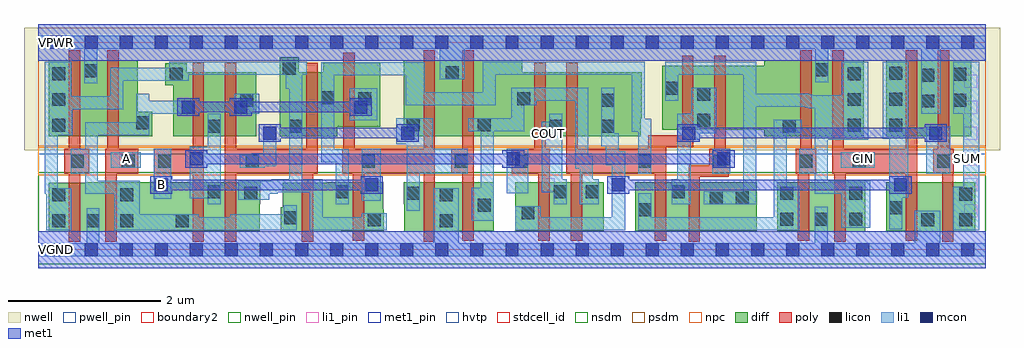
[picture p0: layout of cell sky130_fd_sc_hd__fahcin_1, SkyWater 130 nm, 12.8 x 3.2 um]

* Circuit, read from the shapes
.subckt sky130_fd_sc_hd__fahcin_1 A B CIN COUT SUM VGND VNB VPB VPWR
XM1 VGND n1 n2 VNB sky130_fd_pr__nfet_01v8 w=0.64 l=0.15
XM2 n1 A VGND VNB sky130_fd_pr__nfet_01v8 w=0.65 l=0.15
XM3 n3 B n1 VNB sky130_fd_pr__nfet_01v8 w=0.64 l=0.15
XM4 n2 n4 n3 VNB sky130_fd_pr__nfet_01v8 w=0.64 l=0.15
XM5 n5 n4 n1 VNB sky130_fd_pr__nfet_01v8 w=0.64 l=0.15
XM6 n2 B n5 VNB sky130_fd_pr__nfet_01v8 w=0.64 l=0.15
XM7 VGND B n4 VNB sky130_fd_pr__nfet_01v8 w=0.65 l=0.15
XM8 n6 n4 VGND VNB sky130_fd_pr__nfet_01v8 w=0.64 l=0.15
XM9 COUT n3 n7 VNB sky130_fd_pr__nfet_01v8 w=0.64 l=0.15
XM10 n6 n5 COUT VNB sky130_fd_pr__nfet_01v8 w=0.64 l=0.15
XM11 n8 n5 n9 VNB sky130_fd_pr__nfet_01v8 w=0.64 l=0.15
XM12 n10 n3 n8 VNB sky130_fd_pr__nfet_01v8 w=0.64 l=0.15
XM13 VGND n10 n9 VNB sky130_fd_pr__nfet_01v8 w=0.64 l=0.15
XM14 n10 CIN VGND VNB sky130_fd_pr__nfet_01v8 w=0.65 l=0.15
XM15 VGND CIN n7 VNB sky130_fd_pr__nfet_01v8 w=0.64 l=0.15
XM16 SUM n8 VGND VNB sky130_fd_pr__nfet_01v8 w=0.65 l=0.15
XM17 VPWR n1 n2 VPB sky130_fd_pr__pfet_01v8_hvt w=1 l=0.15
XM18 n1 A VPWR VPB sky130_fd_pr__pfet_01v8_hvt w=1 l=0.15
XM19 n3 B n2 VPB sky130_fd_pr__pfet_01v8_hvt w=0.84 l=0.15
XM20 n1 n4 n3 VPB sky130_fd_pr__pfet_01v8_hvt w=0.84 l=0.15
XM21 n5 n4 n2 VPB sky130_fd_pr__pfet_01v8_hvt w=0.84 l=0.15
XM22 n1 B n5 VPB sky130_fd_pr__pfet_01v8_hvt w=0.84 l=0.15
XM23 VPWR B n4 VPB sky130_fd_pr__pfet_01v8_hvt w=1 l=0.15
XM24 n6 n4 VPWR VPB sky130_fd_pr__pfet_01v8_hvt w=1 l=0.15
XM25 COUT n3 n6 VPB sky130_fd_pr__pfet_01v8_hvt w=0.84 l=0.15
XM26 n7 n5 COUT VPB sky130_fd_pr__pfet_01v8_hvt w=0.84 l=0.15
XM27 n8 n5 n10 VPB sky130_fd_pr__pfet_01v8_hvt w=0.84 l=0.15
XM28 n9 n3 n8 VPB sky130_fd_pr__pfet_01v8_hvt w=0.84 l=0.15
XM29 VPWR n10 n9 VPB sky130_fd_pr__pfet_01v8_hvt w=1 l=0.15
XM30 n10 CIN VPWR VPB sky130_fd_pr__pfet_01v8_hvt w=1 l=0.15
XM31 VPWR CIN n7 VPB sky130_fd_pr__pfet_01v8_hvt w=1 l=0.15
XM32 SUM n8 VPWR VPB sky130_fd_pr__pfet_01v8_hvt w=1 l=0.15
.ends

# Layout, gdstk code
import gdstk
lib = gdstk.Library(unit=1e-6, precision=1e-09)
def R(c, l, rs):  # rectangles x0, y0, x1, y1
    for r in rs: c.add(gdstk.rectangle(r[:2], r[2:], *l))
def A(c, l, x, y, w, h, nx, ny, dx, dy):  # array of equal rectangles
    R(c, l, [(x+i*dx, y+j*dy, x+i*dx+w, y+j*dy+h) for i in range(nx) for j in range(ny)])
def P(c, l, *ps):  # polygons
    for p in ps: c.add(gdstk.Polygon(p, *l))
nwell_pin = (64, 16)
nwell = (64, 20)
diff = (65, 20)
poly = (66, 20)
licon = (66, 44)
li1_pin = (67, 16)
li1 = (67, 20)
mcon = (67, 44)
met1_pin = (68, 16)
met1 = (68, 20)
hvtp = (78, 44)
stdcell_id = (81, 4)
nsdm = (93, 44)
psdm = (94, 20)
npc = (95, 20)
pwell_pin = (122, 16)
boundary2 = (236, 0)

sky130_fd_sc_hd__fahcin_ = lib.new_cell('sky130_fd_sc_hd__fahcin_1')
R(sky130_fd_sc_hd__fahcin_, nwell_pin, [(0.145,2.635,0.315,2.805)])
R(sky130_fd_sc_hd__fahcin_, nwell, [(-0.19,1.305,12.61,2.91)])
R(sky130_fd_sc_hd__fahcin_, diff, [(6.255,0.245,7.41,0.885), (7.825,0.245,9.42,0.885), (11.115,1.485,12.23,2.485), (3.905,1.61,4.48,2.285)])
P(sky130_fd_sc_hd__fahcin_, diff, [(1.49,1.81),(1.3,1.81),(1.3,2.485),(0.135,2.485),(0.135,1.485),(1.49,1.485)],
  [(2.855,2.325),(1.945,2.325),(1.945,2.445),(1.66,2.445),(1.66,2.155),(1.77,2.155),(1.77,1.485),(2.855,1.485)],
  [(2.91,0.885),(0.625,0.885),(0.625,0.875),(0.135,0.875),(0.135,0.235),(1.59,0.235),(1.59,0.245),(2.905,0.245),(2.905,0.6),(2.91,0.6)],
  [(4.48,2.45),(3.735,2.45),(3.735,2.325),(3.415,2.325),(3.415,2.525),(3.165,2.525),(3.165,1.485),(3.92,1.485),(3.92,2.285),(4.48,2.285)],
  [(4.53,0.525),(4.525,0.525),(4.525,0.53),(4.52,0.53),(4.52,0.885),(3.79,0.885),(3.79,0.875),(3.205,0.875),(3.205,0.56),(3.18,0.56),(3.18,0.235),(3.965,0.235),(3.965,0.245),(4.53,0.245)],
  [(5.97,0.885),(4.79,0.885),(4.79,0.605),(4.795,0.605),(4.795,0.6),(4.8,0.6),(4.8,0.235),(5.45,0.235),(5.45,0.245),(5.97,0.245)],
  [(7.91,2.325),(6.345,2.325),(6.345,2.485),(4.79,2.485),(4.79,1.485),(7.9,1.485),(7.9,1.715),(7.91,1.715)],
  [(10.845,0.885),(9.69,0.885),(9.69,0.245),(10.185,0.245),(10.185,0.235),(10.845,0.235)],
  [(10.825,2.485),(9.52,2.485),(9.52,2.415),(8.18,2.415),(8.18,1.575),(9.52,1.575),(9.52,1.485),(10.825,1.485)],
  [(12.285,0.885),(11.115,0.885),(11.115,0.245),(11.6,0.245),(11.6,0.235),(12.285,0.235)])
P(sky130_fd_sc_hd__fahcin_, poly, [(0.665,1.325),(0.55,1.325),(0.55,2.615),(0.4,2.615),(0.4,1.325),(0.335,1.325),(0.335,0.995),(0.4,0.995),(0.4,0.105),(0.55,0.105),(0.55,0.995),(0.665,0.995)],
  [(1.31,1.325),(1.05,1.325),(1.05,2.615),(0.9,2.615),(0.9,1.325),(0.875,1.325),(0.875,0.105),(1.025,0.105),(1.025,0.995),(1.31,0.995)],
  [(2.17,2.455),(2.02,2.455),(2.02,1.325),(1.52,1.325),(1.52,0.995),(2.02,0.995),(2.02,0.105),(2.17,0.105)],
  [(3.66,2.455),(3.51,2.455),(3.51,1.325),(2.595,1.325),(2.595,2.455),(2.445,2.455),(2.445,0.105),(2.595,0.105),(2.595,0.995),(3.455,0.995),(3.455,0.105),(3.605,0.105),(3.605,0.995),(3.66,0.995)],
  [(5.2,2.615),(5.05,2.615),(5.05,1.325),(4.145,1.325),(4.145,2.58),(3.995,2.58),(3.995,1.325),(3.985,1.325),(3.985,0.995),(4.12,0.995),(4.12,0.115),(4.27,0.115),(4.27,0.995),(5.05,0.995),(5.05,0.105),(5.2,0.105)],
  [(5.71,2.615),(5.56,2.615),(5.56,1.325),(5.41,1.325),(5.41,0.995),(5.56,0.995),(5.56,0.115),(5.71,0.115)],
  [(6.705,1.325),(6.65,1.325),(6.65,2.455),(6.5,2.455),(6.5,1.325),(6.205,1.325),(6.205,0.995),(6.555,0.995),(6.555,0.115),(6.705,0.115)],
  [(8.59,2.545),(8.44,2.545),(8.44,1.5),(7.995,1.5),(7.995,1.325),(7.07,1.325),(7.07,2.455),(6.92,2.455),(6.92,0.995),(6.98,0.995),(6.98,0.115),(7.13,0.115),(7.13,0.995),(8.085,0.995),(8.085,0.115),(8.235,0.115),(8.235,1.35),(8.59,1.35)],
  [(9.07,1.325),(9.01,1.325),(9.01,2.545),(8.86,2.545),(8.86,1.325),(8.8,1.325),(8.8,1.11),(8.525,1.11),(8.525,0.105),(8.675,0.105),(8.675,0.96),(9.055,0.96),(9.055,0.995),(9.07,0.995)],
  [(11.525,2.615),(11.375,2.615),(11.375,1.325),(10.56,1.325),(10.56,2.615),(10.41,2.615),(10.41,0.995),(10.435,0.995),(10.435,0.105),(10.585,0.105),(10.585,0.995),(11.375,0.995),(11.375,0.115),(11.525,0.115)],
  [(12.005,1.325),(11.945,1.325),(11.945,2.615),(11.795,2.615),(11.795,1.325),(11.735,1.325),(11.735,0.995),(11.85,0.995),(11.85,0.105),(12,0.105),(12,0.995),(12.005,0.995)],
  [(10.2,1.325),(10.14,1.325),(10.14,2.615),(9.99,2.615),(9.99,1.325),(9.93,1.325),(9.93,0.995),(9.96,0.995),(9.96,0.115),(10.11,0.115),(10.11,0.995),(10.2,0.995)])
A(sky130_fd_sc_hd__fahcin_, licon, 0.18, 1.545, 0.17, 0.17, 1, 3, 0, 0.34)
A(sky130_fd_sc_hd__fahcin_, licon, 10.615, 1.545, 0.17, 0.17, 1, 3, 0, 0.34)
A(sky130_fd_sc_hd__fahcin_, licon, 11.155, 1.55, 0.17, 0.17, 1, 3, 0, 0.34)
R(sky130_fd_sc_hd__fahcin_, licon, [(0.18,0.295,0.35,0.465), (0.63,0.295,0.8,0.465), (1.075,0.295,1.245,0.465), (1.8,0.295,1.97,0.465), (5.26,0.295,5.43,0.465), (4.32,0.305,4.49,0.475), (11.575,0.305,11.745,0.475), (12.075,0.305,12.245,0.475), (9.73,0.315,9.9,0.485), (10.18,0.315,10.35,0.485), (10.635,0.315,10.805,0.485), (3.22,0.335,3.39,0.505), (6.335,0.4,6.505,0.57), (7.865,0.44,8.035,0.61), (11.155,0.465,11.325,0.635), (5.76,0.495,5.93,0.665), (8.805,0.595,8.975,0.765), (9.145,0.595,9.315,0.765), (0.18,0.635,0.35,0.805), (1.075,0.635,1.245,0.805), (5.26,0.635,5.43,0.805), (12.075,0.645,12.245,0.815), (2.7,0.655,2.87,0.825), (4.83,0.655,5,0.825), (9.73,0.655,9.9,0.825), (10.635,0.655,10.805,0.825), (2.22,0.675,2.39,0.845), (3.9,0.675,4.07,0.845), (6.755,0.675,6.925,0.845), (7.18,0.675,7.35,0.845), (8.305,0.675,8.475,0.845), (0.425,1.075,0.595,1.245), (1.09,1.075,1.26,1.245), (1.57,1.075,1.74,1.245), (2.72,1.075,2.89,1.245), (4.24,1.075,4.41,1.245), (5.46,1.075,5.63,1.245), (6.255,1.075,6.425,1.245), (7.865,1.075,8.035,1.245), (8.85,1.075,9.02,1.245), (9.98,1.075,10.15,1.245), (10.68,1.075,10.85,1.245), (11.785,1.075,11.955,1.245), (2.22,1.535,2.39,1.705), (3.29,1.535,3.46,1.705), (6.7,1.535,6.87,1.705), (7.38,1.535,7.55,1.705), (9.76,1.535,9.93,1.705), (4.83,1.555,5,1.725), (5.76,1.555,5.93,1.725), (1.28,1.58,1.45,1.75), (8.64,1.615,8.81,1.785), (11.575,1.865,11.745,2.035), (2.645,1.875,2.815,2.045), (7.38,1.875,7.55,2.045), (12,1.875,12.17,2.045), (4.195,1.895,4.365,2.065), (6.28,1.895,6.45,2.065), (3.71,1.905,3.88,2.075), (8.64,1.955,8.81,2.125), (8.22,2.035,8.39,2.205), (11.575,2.205,11.745,2.375), (1.72,2.215,1.89,2.385), (12,2.215,12.17,2.385), (5.34,2.235,5.51,2.405), (0.6,2.26,0.77,2.43), (10.19,2.275,10.36,2.445), (3.205,2.295,3.375,2.465)])
A(sky130_fd_sc_hd__fahcin_, li1_pin, 12.14, 0.425, 0.17, 0.17, 1, 6, 0, 0.34)
R(sky130_fd_sc_hd__fahcin_, li1_pin, [(1.525,0.765,1.695,0.935), (6.6,0.765,6.77,0.935), (1.065,1.105,1.235,1.275), (10.74,1.105,10.91,1.275), (6.6,1.445,6.77,1.615)])
R(sky130_fd_sc_hd__fahcin_, li1, [(4.24,0.645,4.49,1.325), (1.51,0.665,1.74,1.325), (6.14,0.74,6.425,1.325), (3.29,0.9,3.46,2.305), (8.835,0.995,9.07,1.325), (11.645,0.995,11.955,1.615), (0.95,1.075,1.34,1.275), (10.52,1.075,10.965,1.275), (2.8,1.245,2.95,1.265), (4.08,1.695,4.445,2.12), (1.405,1.785,2.05,1.955), (1.88,1.785,2.05,1.955), (2.565,1.785,2.895,2.045), (2.57,1.785,2.74,1.955), (2.57,1.785,2.74,1.955), (4.815,2.065,5.065,2.46), (3.245,2.11,3.415,2.295)])
P(sky130_fd_sc_hd__fahcin_, li1, [(3.39,0.585),(3.215,0.585),(3.215,0.465),(2.515,0.465),(2.515,0.425),(2.1,0.425),(2.1,0.465),(1.325,0.465),(1.325,0.905),(0.78,0.905),(0.78,1.5),(1.45,1.5),(1.45,2.045),(1.28,2.045),(1.28,1.67),(0.61,1.67),(0.61,1.325),(0.425,1.325),(0.425,0.995),(0.61,0.995),(0.61,0.735),(0.995,0.735),(0.995,0.255),(3.39,0.255)],
  [(12.335,2.465),(12,2.465),(12,1.785),(12.125,1.785),(12.125,0.825),(11.995,0.825),(11.995,0.255),(12.335,0.255)],
  [(8.89,2.125),(8.56,2.125),(8.56,1.785),(8.375,1.785),(8.375,0.925),(8.305,0.925),(8.305,0.595),(8.555,0.595),(8.555,1.445),(8.67,1.445),(8.67,1.53),(8.89,1.53)],
  [(10.01,1.705),(9.64,1.705),(9.64,0.425),(8.035,0.425),(8.035,0.74),(7.865,0.74),(7.865,0.255),(9.98,0.255),(9.98,0.825),(9.81,0.825),(9.81,1.535),(10.01,1.535)],
  [(2.39,1.785),(2.22,1.785),(2.22,1.35),(1.985,1.35),(1.985,0.675),(2.22,0.675),(2.22,0.595),(2.39,0.595)],
  [(3.12,1.615),(2.95,1.615),(2.95,1.245),(2.64,1.245),(2.64,1.075),(2.97,1.075),(2.97,1.095),(3.12,1.095)],
  [(3.515,2.465),(1.715,2.465),(1.715,2.385),(0.94,2.385),(0.94,2.01),(0.43,2.01),(0.43,2.465),(0.085,2.465),(0.085,0.735),(0.1,0.735),(0.1,0.255),(0.43,0.255),(0.43,0.805),(0.255,0.805),(0.255,1.5),(0.44,1.5),(0.44,1.84),(1.11,1.84),(1.11,2.215),(1.97,2.215),(1.97,2.295),(3.515,2.295)],
  [(4.57,0.475),(4.24,0.475),(4.24,0.425),(3.73,0.425),(3.73,0.925),(3.055,0.925),(3.055,0.905),(2.62,0.905),(2.62,0.655),(3.025,0.655),(3.025,0.735),(3.135,0.735),(3.135,0.755),(3.56,0.755),(3.56,0.255),(4.57,0.255)],
  [(5.63,1.325),(5.17,1.325),(5.17,1.725),(4.69,1.725),(4.69,1.385),(4.83,1.385),(4.83,0.51),(5,0.51),(5,0.995),(5.63,0.995)],
  [(6.925,0.925),(6.87,0.925),(6.87,1.785),(6.7,1.785),(6.7,1.675),(6.6,1.675),(6.6,0.755),(6.755,0.755),(6.755,0.595),(6.925,0.595)],
  [(7.35,0.925),(7.27,0.925),(7.27,1.23),(7.21,1.23),(7.21,2.125),(6.2,2.125),(6.2,1.725),(5.635,1.725),(5.635,1.555),(5.8,1.555),(5.8,0.815),(5.68,0.815),(5.68,0.38),(5.97,0.38),(5.97,1.555),(6.37,1.555),(6.37,1.895),(6.53,1.895),(6.53,1.955),(7.04,1.955),(7.04,1.06),(7.1,1.06),(7.1,0.595),(7.35,0.595)],
  [(7.695,1.29),(7.61,1.29),(7.61,1.53),(7.55,1.53),(7.55,2.125),(7.38,2.125),(7.38,1.36),(7.44,1.36),(7.44,1.105),(7.52,1.105),(7.52,0.425),(6.585,0.425),(6.585,0.57),(6.255,0.57),(6.255,0.255),(7.695,0.255)],
  [(12.42,2.805),(0,2.805),(0,2.635),(0.6,2.635),(0.6,2.18),(0.77,2.18),(0.77,2.635),(5.26,2.635),(5.26,2.235),(5.59,2.235),(5.59,2.635),(10.19,2.635),(10.19,2.195),(10.36,2.195),(10.36,2.635),(11.575,2.635),(11.575,1.785),(11.83,1.785),(11.83,2.635),(12.42,2.635)],
  [(11.405,2.465),(11.075,2.465),(11.075,1.455),(11.155,1.455),(11.155,0.27),(11.325,0.27),(11.325,0.68),(11.405,0.68)],
  [(10.91,0.905),(10.35,0.905),(10.35,1.445),(10.885,1.445),(10.885,2.465),(10.535,2.465),(10.535,2.025),(10.145,2.025),(10.145,2.03),(10.13,2.03),(10.13,2.035),(10.12,2.035),(10.12,2.04),(10.105,2.04),(10.105,2.045),(9.41,2.045),(9.41,2.465),(8.22,2.465),(8.22,1.955),(8.39,1.955),(8.39,2.295),(9.24,2.295),(9.24,0.765),(8.725,0.765),(8.725,0.595),(9.41,0.595),(9.41,1.875),(10.055,1.875),(10.055,1.87),(10.07,1.87),(10.07,1.865),(10.085,1.865),(10.085,1.86),(10.1,1.86),(10.1,1.855),(10.18,1.855),(10.18,1.325),(9.98,1.325),(9.98,0.995),(10.18,0.995),(10.18,0.735),(10.53,0.735),(10.53,0.285),(10.91,0.285)],
  [(12.42,0.085),(11.825,0.085),(11.825,0.51),(11.495,0.51),(11.495,0.085),(10.35,0.085),(10.35,0.565),(10.18,0.565),(10.18,0.085),(5.51,0.085),(5.51,0.805),(5.18,0.805),(5.18,0.085),(0.8,0.085),(0.8,0.545),(0.63,0.545),(0.63,0.085),(0,0.085),(0,-0.085),(12.42,-0.085)],
  [(8.035,1.72),(7.95,1.72),(7.95,2.465),(5.825,2.465),(5.825,2.065),(4.815,2.065),(4.815,1.895),(5.995,1.895),(5.995,2.295),(7.78,2.295),(7.78,1.55),(7.865,1.55),(7.865,0.995),(8.035,0.995)],
  [(5.065,2.46),(3.71,2.46),(3.71,1.15),(3.9,1.15),(3.9,0.595),(4.07,0.595),(4.07,1.32),(3.88,1.32),(3.88,2.29),(5.065,2.29)])
A(sky130_fd_sc_hd__fahcin_, mcon, 0.145, -0.085, 0.17, 0.17, 27, 2, 0.46, 2.72)
R(sky130_fd_sc_hd__fahcin_, mcon, [(1.525,0.765,1.695,0.935), (4.285,0.765,4.455,0.935), (7.52,0.765,7.69,0.935), (11.22,0.765,11.39,0.935), (1.985,1.105,2.155,1.275), (6.14,1.105,6.31,1.275), (8.9,1.105,9.07,1.275), (2.95,1.445,3.12,1.615), (4.76,1.445,4.93,1.615), (8.44,1.445,8.61,1.615), (11.68,1.445,11.85,1.615), (1.88,1.785,2.05,1.955), (2.57,1.785,2.74,1.955), (4.14,1.785,4.31,1.955)])
R(sky130_fd_sc_hd__fahcin_, met1_pin, [(0.145,-0.085,0.315,0.085), (0.145,2.635,0.315,2.805)])
P(sky130_fd_sc_hd__fahcin_, met1, [(4.515,0.965),(4.225,0.965),(4.225,0.92),(1.755,0.92),(1.755,0.965),(1.465,0.965),(1.465,0.735),(1.755,0.735),(1.755,0.78),(4.225,0.78),(4.225,0.735),(4.515,0.735)],
  [(4.99,1.645),(4.7,1.645),(4.7,1.6),(3.18,1.6),(3.18,1.645),(2.89,1.645),(2.89,1.415),(3.18,1.415),(3.18,1.46),(4.7,1.46),(4.7,1.415),(4.99,1.415)],
  [(9.13,1.305),(8.84,1.305),(8.84,1.26),(6.37,1.26),(6.37,1.305),(6.08,1.305),(6.08,1.26),(2.215,1.26),(2.215,1.305),(1.925,1.305),(1.925,1.075),(2.215,1.075),(2.215,1.12),(6.08,1.12),(6.08,1.075),(6.37,1.075),(6.37,1.12),(8.84,1.12),(8.84,1.075),(9.13,1.075)],
  [(11.91,1.645),(11.62,1.645),(11.62,1.6),(8.67,1.6),(8.67,1.645),(8.38,1.645),(8.38,1.415),(8.67,1.415),(8.67,1.46),(11.62,1.46),(11.62,1.415),(11.91,1.415)],
  [(11.45,0.965),(11.16,0.965),(11.16,0.92),(7.75,0.92),(7.75,0.965),(7.46,0.965),(7.46,0.735),(7.75,0.735),(7.75,0.78),(11.16,0.78),(11.16,0.735),(11.45,0.735)],
  [(2.14,1.94),(2.11,1.94),(2.11,1.985),(1.82,1.985),(1.82,1.755),(2.11,1.755),(2.11,1.8),(2.14,1.8)],
  [(2.785,1.94),(2.8,1.94),(2.8,1.985),(2.51,1.985),(2.51,1.755),(2.8,1.755),(2.8,1.8),(2.785,1.8)],
  [(4.37,1.985),(4.08,1.985),(4.08,1.94),(2.105,1.94),(2.105,1.8),(4.08,1.8),(4.08,1.755),(4.37,1.755)])
R(sky130_fd_sc_hd__fahcin_, hvtp, [(0,1.25,12.42,2.72)])
R(sky130_fd_sc_hd__fahcin_, stdcell_id, [(0,0,12.42,2.72)])
R(sky130_fd_sc_hd__fahcin_, nsdm, [(0,-0.19,12.42,1.015)])
R(sky130_fd_sc_hd__fahcin_, psdm, [(0,1.355,12.42,2.91)])
R(sky130_fd_sc_hd__fahcin_, npc, [(0,0.975,12.42,1.345)])
R(sky130_fd_sc_hd__fahcin_, pwell_pin, [(0.145,-0.085,0.315,0.085)])
R(sky130_fd_sc_hd__fahcin_, boundary2, [(0,0,12.42,2.72)])
sky130_fd_sc_hd__fahcin_.add(gdstk.FlexPath([(0,0),(12.42,0)], 0.48, ends="flush", simple_path=True, layer=68, datatype=20))  # met1
sky130_fd_sc_hd__fahcin_.add(gdstk.FlexPath([(0,2.72),(12.42,2.72)], 0.48, ends="flush", simple_path=True, layer=68, datatype=20))  # met1
sky130_fd_sc_hd__fahcin_.add(gdstk.Label('COUT', (6.685,1.53), layer=67, texttype=5))
sky130_fd_sc_hd__fahcin_.add(gdstk.Label('B', (1.61,0.85), layer=67, texttype=5))
sky130_fd_sc_hd__fahcin_.add(gdstk.Label('A', (1.15,1.19), layer=67, texttype=5))
sky130_fd_sc_hd__fahcin_.add(gdstk.Label('SUM', (12.19,1.19), layer=67, texttype=5))
sky130_fd_sc_hd__fahcin_.add(gdstk.Label('CIN', (10.825,1.19), layer=67, texttype=5))
sky130_fd_sc_hd__fahcin_.add(gdstk.Label('VPWR', (0.23,2.72), layer=68, texttype=5))
sky130_fd_sc_hd__fahcin_.add(gdstk.Label('VGND', (0.23,0), layer=68, texttype=5))
sky130_fd_sc_hd__fahcin_.add(gdstk.Label('B', (1.61,0.85), layer=68, texttype=5))
sky130_fd_sc_hd__fahcin_.add(gdstk.Label('VNB', (0.23,0), layer=64, texttype=59))
sky130_fd_sc_hd__fahcin_.add(gdstk.Label('VPB', (0.23,2.72), layer=64, texttype=5))
sky130_fd_sc_hd__fahcin_.add(gdstk.Label('fahcin_1', (0,0), layer=83, texttype=44))

lib.write_gds('sky130_fd_sc_hd__fahcin_1.gds')
